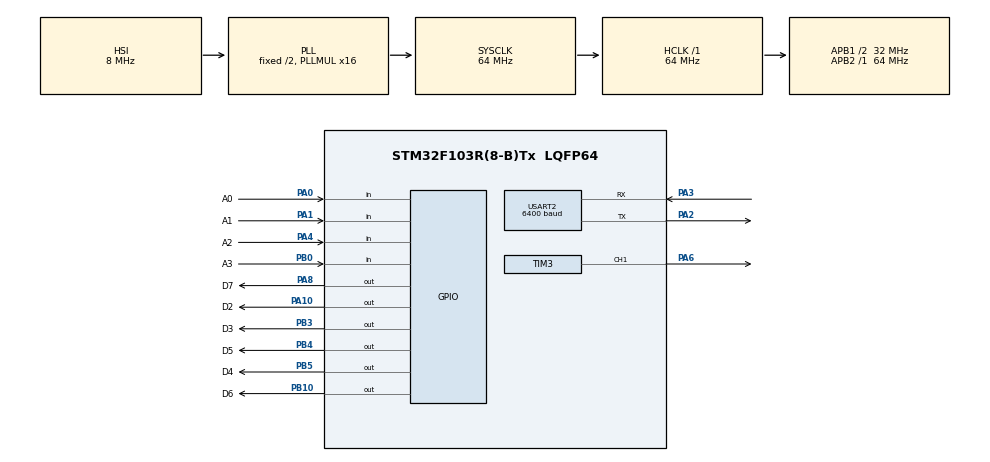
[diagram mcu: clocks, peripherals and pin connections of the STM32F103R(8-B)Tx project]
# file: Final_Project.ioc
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Mcu.Family=STM32F1
Mcu.Name=STM32F103R(8-B)Tx
Mcu.Package=LQFP64
NVIC.PriorityGroup=NVIC_PRIORITYGROUP_4
NVIC.TIM2_IRQn=true\:0\:0\:false\:false\:true\:true\:true
NVIC.TIM3_IRQn=true\:0\:0\:false\:false\:true\:true\:true
NVIC.USART2_IRQn=true\:0\:0\:false\:false\:true\:true\:true
PA0-WKUP.GPIO_Label=A0
PA0-WKUP.GPIO_PuPd=GPIO_PULLUP
PA0-WKUP.Signal=GPIO_Input
PA1.GPIO_Label=A1
PA1.GPIO_PuPd=GPIO_PULLUP
PA1.Signal=GPIO_Input
PA10.GPIO_Label=D2
PA10.GPIO_PuPd=GPIO_PULLUP
PA10.Signal=GPIO_Output
PA13.Mode=Serial_Wire
PA13.Signal=SYS_JTMS-SWDIO
PA14.Mode=Serial_Wire
PA14.Signal=SYS_JTCK-SWCLK
PA2.Mode=Asynchronous
PA2.Signal=USART2_TX
PA3.Mode=Asynchronous
PA3.Signal=USART2_RX
PA4.GPIO_Label=A2
PA4.GPIO_PuPd=GPIO_PULLUP
PA4.Signal=GPIO_Input
PA6.Signal=S_TIM3_CH1
PA8.GPIO_Label=D7
PA8.GPIO_PuPd=GPIO_PULLUP
PA8.Signal=GPIO_Output
PB0.GPIO_Label=A3
PB0.GPIO_PuPd=GPIO_PULLUP
PB0.Signal=GPIO_Input
PB10.GPIO_Label=D6
PB10.GPIO_PuPd=GPIO_PULLUP
PB10.Signal=GPIO_Output
PB3.GPIO_Label=D3
PB3.GPIO_PuPd=GPIO_PULLUP
PB3.Signal=GPIO_Output
PB4.GPIO_Label=D5
PB4.GPIO_PuPd=GPIO_PULLUP
PB4.Signal=GPIO_Output
PB5.GPIO_Label=D4
PB5.GPIO_PuPd=GPIO_PULLUP
PB5.Signal=GPIO_Output
ProjectManager.HeapSize=0x200
ProjectManager.StackSize=0x400
ProjectManager.TargetToolchain=STM32CubeIDE
RCC.AHBFreq_Value=64000000
RCC.APB1CLKDivider=RCC_HCLK_DIV2
RCC.APB1Freq_Value=32000000
RCC.APB1TimFreq_Value=64000000
RCC.APB2Freq_Value=64000000
RCC.APB2TimFreq_Value=64000000
RCC.HCLKFreq_Value=64000000
RCC.PLLMUL=RCC_PLL_MUL16
RCC.SYSCLKFreq_VALUE=64000000
RCC.SYSCLKSource=RCC_SYSCLKSOURCE_PLLCLK
RCC.USBFreq_Value=64000000
SH.S_TIM3_CH1.0=TIM3_CH1,PWM Generation1 CH1
TIM2.Period=9999
TIM2.Prescaler=63
TIM3.Channel-PWM\ Generation1\ CH1=TIM_CHANNEL_1
TIM3.Period=999
TIM3.Prescaler=63
USART2.BaudRate=6400
USART2.VirtualMode=VM_ASYNC
VP_TIM2_VS_ClockSourceINT.Mode=Internal
VP_TIM3_VS_ClockSourceINT.Mode=Internal
board=custom

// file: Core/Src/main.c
/* USER CODE BEGIN Header */
/**
  ******************************************************************************
  * @file           : main.c
  * @brief          : Main program body
  ******************************************************************************
  * @attention
  *
  * <h2><center>&copy; Copyright (c) 2022 STMicroelectronics.
  * All rights reserved.</center></h2>
  *
  * This software component is licensed by ST under BSD 3-Clause license,
  * the "License"; You may not use this file except in compliance with the
  * License. You may obtain a copy of the License at:
  *                        opensource.org/licenses/BSD-3-Clause
  *
  ******************************************************************************
  */
/* USER CODE END Header */
#include "main.h"

/* USER CODE BEGIN Includes */
#include "timer.h"
#include "input_processing.h"
#include "input_reading.h"
#include "display7SEG.h"
#include "traffic_light.h"
#include "global.h"
#include <stdio.h>
#include "scheduler.h"
/* USER CODE END Includes */

TIM_HandleTypeDef htim2;
TIM_HandleTypeDef htim3;

UART_HandleTypeDef huart2;

void SystemClock_Config(void);
static void MX_GPIO_Init(void);
static void MX_TIM2_Init(void);
static void MX_TIM3_Init(void);
static void MX_USART2_UART_Init(void);

/* USER CODE BEGIN 0 */
void testIO (){
	HAL_GPIO_WritePin(D2_GPIO_Port, D2_Pin,
		HAL_GPIO_ReadPin(A0_GPIO_Port, A0_Pin)); //TURN OFF
	//HAL_GPIO_WritePin(D4_GPIO_Port, D4_Pin,
				//HAL_GPIO_ReadPin(A0_GPIO_Port, A1_Pin));
	//HAL_GPIO_WritePin(D6_GPIO_Port, D6_Pin,
				//HAL_GPIO_ReadPin(A0_GPIO_Port, A2_Pin));
	//HAL_GPIO_TogglePin(D7_GPIO_Port, D7_Pin);
}

void testSCH(){
	HAL_GPIO_TogglePin(D2_GPIO_Port, D2_Pin);
	//HAL_GPIO_WritePin (D2_GPIO_Port, D2_Pin, 0);
	//HAL_GPIO_WritePin (D3_GPIO_Port, D3_Pin, 1);
}

int buzzer_en2 = 0;
void buzzer_active(){
	if (USE_SCHEDULER)
		timer3_flag = 1;

	if (status1 == AUTO_GREEN) {
		if ((pedes_Duration == -1) || (pedes_Duration >= RED_DURATION) )
			pedes_Duration = 0;
	} else pedes_Duration = -1;

	if (timer3_flag == 1) {
		  int duty;
		  int speedCycle;
		  if ((pedes_Duration >= 0)&&(pedes_Duration < RED_DURATION*0.8)) {
			duty = (int)((pedes_Duration*50) / (RED_DURATION*0.8));
			speedCycle = 500 - (int)((pedes_Duration*470) / (RED_DURATION*0.8));
		  } else { 			 // 80% of Red Light time has PASSED
			duty = 50; 		 // max volume
			speedCycle = 30; // fastest beep: 1/16 second beeping cycle
		  }
		  if (buzzer){
			  if (buzzer_en2 == 0) {
				  buzzer_en2 = 1;
				  __HAL_TIM_SetCompare(&htim3,TIM_CHANNEL_1, 0);
			  }
			  else {
				  __HAL_TIM_SetCompare(&htim3,TIM_CHANNEL_1, duty);
				  buzzer_en2 = 0;
			  }
		  }
		  else  __HAL_TIM_SetCompare(&htim3,TIM_CHANNEL_1, 0);
		  setTimer3(speedCycle);
		  pedes_Duration = pedes_Duration + speedCycle;

		  if (USE_SCHEDULER)
			  SCH_Add_Task(buzzer_active, speedCycle / TICK_CYCLE, 0, BUZZER_ID);
	}
}

//USART PRINTING
int tmp_buffer[4] = {1, 2, 3, 4};
char str[1000];
void display7SEG_U1(){
	HAL_UART_Transmit(&huart2, (void*) str, sprintf(str, "!7SEG Road1:%d%d#\r\n",led_buffer[0], led_buffer[1]), 1000);

}
void display7SEG_U2(){
	HAL_UART_Transmit(&huart2, (void*) str, sprintf(str, "!7SEG Road2:%d%d#\r\n -------------- \r\n",led_buffer[3], led_buffer[2]), 1000);
}
/* USER CODE END 0 */

int main(void)
{

  /* MCU Configuration--------------------------------------------------------*/

  /* Reset of all peripherals, Initializes the Flash interface and the Systick. */
  HAL_Init();

  /* Configure the system clock */
  SystemClock_Config();

  /* Initialize all configured peripherals */
  MX_GPIO_Init();
  MX_TIM2_Init();
  MX_TIM3_Init();
  MX_USART2_UART_Init();
  /* USER CODE BEGIN 2 */
  HAL_TIM_Base_Start_IT(&htim2);
  HAL_TIM_PWM_Start(&htim3, TIM_CHANNEL_1);

  /* USER CODE END 2 */

  /* Infinite loop */
  /* USER CODE BEGIN WHILE */
  int flag_print = 1;
  SCH_Init();

  SCH_Add_Task(fsm_automatic_run1, 0, 0, FSM_AUTO1_ID);
  SCH_Add_Task(fsm_automatic_run2, 1, 0, FSM_AUTO2_ID);
  SCH_Add_Task(fsm_for_7SEG, 2, 250, FSM_7SEG_ID);

  //SCH_Add_Task(testSCH, 10, 100);
  while (1)
  {
	  SCH_Dispatch_Tasks();
	  //testIO();
	  //testSCH();
	  //HAL_Delay(1000);

	  //FSM of automatic mode
	  //fsm_automatic_run1();
	  //fsm_automatic_run2();

	  //fsm_for_7SEG();

	  //FSM of button
	  fsm_for_input_processing();
	  //fsm_blinking_mode();

	  //USART Printing
	  //Only print if there is a change of buffer
	  /*
	  for (int i = 0; i < 4; i++){
		  if (tmp_buffer[i] != led_buffer[i]){
			  tmp_buffer[i] = led_buffer[i];
			  if (flag_print){
				  display7SEG_U1();
				  display7SEG_U2();
				  flag_print = 0;
			  }
		  }
		  if (i == 3) flag_print = 1;
	  }*/
	  // END BUZZER
    /* USER CODE END WHILE */

  }
}

void SystemClock_Config(void)
{
  RCC_OscInitTypeDef RCC_OscInitStruct = {0};
  RCC_ClkInitTypeDef RCC_ClkInitStruct = {0};

  /** Initializes the RCC Oscillators according to the specified parameters
  * in the RCC_OscInitTypeDef structure.
  */
  RCC_OscInitStruct.OscillatorType = RCC_OSCILLATORTYPE_HSI;
  RCC_OscInitStruct.HSIState = RCC_HSI_ON;
  RCC_OscInitStruct.HSICalibrationValue = RCC_HSICALIBRATION_DEFAULT;
  RCC_OscInitStruct.PLL.PLLState = RCC_PLL_ON;
  RCC_OscInitStruct.PLL.PLLSource = RCC_PLLSOURCE_HSI_DIV2;
  RCC_OscInitStruct.PLL.PLLMUL = RCC_PLL_MUL16;
  if (HAL_RCC_OscConfig(&RCC_OscInitStruct) != HAL_OK)
  {
    Error_Handler();
  }
  /** Initializes the CPU, AHB and APB buses clocks
  */
  RCC_ClkInitStruct.ClockType = RCC_CLOCKTYPE_HCLK|RCC_CLOCKTYPE_SYSCLK
                              |RCC_CLOCKTYPE_PCLK1|RCC_CLOCKTYPE_PCLK2;
  RCC_ClkInitStruct.SYSCLKSource = RCC_SYSCLKSOURCE_PLLCLK;
  RCC_ClkInitStruct.AHBCLKDivider = RCC_SYSCLK_DIV1;
  RCC_ClkInitStruct.APB1CLKDivider = RCC_HCLK_DIV2;
  RCC_ClkInitStruct.APB2CLKDivider = RCC_HCLK_DIV1;

  if (HAL_RCC_ClockConfig(&RCC_ClkInitStruct, FLASH_LATENCY_2) != HAL_OK)
  {
    Error_Handler();
  }
}

static void MX_TIM2_Init(void)
{

  TIM_ClockConfigTypeDef sClockSourceConfig = {0};
  TIM_MasterConfigTypeDef sMasterConfig = {0};

  htim2.Instance = TIM2;
  htim2.Init.Prescaler = 63;
  htim2.Init.CounterMode = TIM_COUNTERMODE_UP;
  htim2.Init.Period = 9999;
  htim2.Init.ClockDivision = TIM_CLOCKDIVISION_DIV1;
  htim2.Init.AutoReloadPreload = TIM_AUTORELOAD_PRELOAD_DISABLE;
  if (HAL_TIM_Base_Init(&htim2) != HAL_OK)
  {
    Error_Handler();
  }
  sClockSourceConfig.ClockSource = TIM_CLOCKSOURCE_INTERNAL;
  if (HAL_TIM_ConfigClockSource(&htim2, &sClockSourceConfig) != HAL_OK)
  {
    Error_Handler();
  }
  sMasterConfig.MasterOutputTrigger = TIM_TRGO_RESET;
  sMasterConfig.MasterSlaveMode = TIM_MASTERSLAVEMODE_DISABLE;
  if (HAL_TIMEx_MasterConfigSynchronization(&htim2, &sMasterConfig) != HAL_OK)
  {
    Error_Handler();
  }

}

static void MX_TIM3_Init(void)
{

  TIM_ClockConfigTypeDef sClockSourceConfig = {0};
  TIM_MasterConfigTypeDef sMasterConfig = {0};
  TIM_OC_InitTypeDef sConfigOC = {0};

  htim3.Instance = TIM3;
  htim3.Init.Prescaler = 63;
  htim3.Init.CounterMode = TIM_COUNTERMODE_UP;
  htim3.Init.Period = 999;
  htim3.Init.ClockDivision = TIM_CLOCKDIVISION_DIV1;
  htim3.Init.AutoReloadPreload = TIM_AUTORELOAD_PRELOAD_DISABLE;
  if (HAL_TIM_Base_Init(&htim3) != HAL_OK)
  {
    Error_Handler();
  }
  sClockSourceConfig.ClockSource = TIM_CLOCKSOURCE_INTERNAL;
  if (HAL_TIM_ConfigClockSource(&htim3, &sClockSourceConfig) != HAL_OK)
  {
    Error_Handler();
  }
  if (HAL_TIM_PWM_Init(&htim3) != HAL_OK)
  {
    Error_Handler();
  }
  sMasterConfig.MasterOutputTrigger = TIM_TRGO_RESET;
  sMasterConfig.MasterSlaveMode = TIM_MASTERSLAVEMODE_DISABLE;
  if (HAL_TIMEx_MasterConfigSynchronization(&htim3, &sMasterConfig) != HAL_OK)
  {
    Error_Handler();
  }
  sConfigOC.OCMode = TIM_OCMODE_PWM1;
  sConfigOC.Pulse = 0;
  sConfigOC.OCPolarity = TIM_OCPOLARITY_HIGH;
  sConfigOC.OCFastMode = TIM_OCFAST_DISABLE;
  if (HAL_TIM_PWM_ConfigChannel(&htim3, &sConfigOC, TIM_CHANNEL_1) != HAL_OK)
  {
    Error_Handler();
  }
  HAL_TIM_MspPostInit(&htim3);

}

static void MX_USART2_UART_Init(void)
{

  huart2.Instance = USART2;
  huart2.Init.BaudRate = 6400;
  huart2.Init.WordLength = UART_WORDLENGTH_8B;
  huart2.Init.StopBits = UART_STOPBITS_1;
  huart2.Init.Parity = UART_PARITY_NONE;
  huart2.Init.Mode = UART_MODE_TX_RX;
  huart2.Init.HwFlowCtl = UART_HWCONTROL_NONE;
  huart2.Init.OverSampling = UART_OVERSAMPLING_16;
  if (HAL_UART_Init(&huart2) != HAL_OK)
  {
    Error_Handler();
  }

}

static void MX_GPIO_Init(void)
{
  GPIO_InitTypeDef GPIO_InitStruct = {0};

  /* GPIO Ports Clock Enable */
  __HAL_RCC_GPIOA_CLK_ENABLE();
  __HAL_RCC_GPIOB_CLK_ENABLE();

  /*Configure GPIO pin Output Level */
  HAL_GPIO_WritePin(GPIOB, D6_Pin|D3_Pin|D5_Pin|D4_Pin, GPIO_PIN_RESET);

  /*Configure GPIO pin Output Level */
  HAL_GPIO_WritePin(GPIOA, D7_Pin|D2_Pin, GPIO_PIN_RESET);

  /*Configure GPIO pins : A0_Pin A1_Pin A2_Pin */
  GPIO_InitStruct.Pin = A0_Pin|A1_Pin|A2_Pin;
  GPIO_InitStruct.Mode = GPIO_MODE_INPUT;
  GPIO_InitStruct.Pull = GPIO_PULLUP;
  HAL_GPIO_Init(GPIOA, &GPIO_InitStruct);

  /*Configure GPIO pin : A3_Pin */
  GPIO_InitStruct.Pin = A3_Pin;
  GPIO_InitStruct.Mode = GPIO_MODE_INPUT;
  GPIO_InitStruct.Pull = GPIO_PULLUP;
  HAL_GPIO_Init(A3_GPIO_Port, &GPIO_InitStruct);

  /*Configure GPIO pins : D6_Pin D3_Pin D5_Pin D4_Pin */
  GPIO_InitStruct.Pin = D6_Pin|D3_Pin|D5_Pin|D4_Pin;
  GPIO_InitStruct.Mode = GPIO_MODE_OUTPUT_PP;
  GPIO_InitStruct.Pull = GPIO_PULLUP;
  GPIO_InitStruct.Speed = GPIO_SPEED_FREQ_LOW;
  HAL_GPIO_Init(GPIOB, &GPIO_InitStruct);

  /*Configure GPIO pins : D7_Pin D2_Pin */
  GPIO_InitStruct.Pin = D7_Pin|D2_Pin;
  GPIO_InitStruct.Mode = GPIO_MODE_OUTPUT_PP;
  GPIO_InitStruct.Pull = GPIO_PULLUP;
  GPIO_InitStruct.Speed = GPIO_SPEED_FREQ_LOW;
  HAL_GPIO_Init(GPIOA, &GPIO_InitStruct);

}

/* USER CODE BEGIN 4 */
void HAL_TIM_PeriodElapsedCallback(TIM_HandleTypeDef * htim ){
	timer_run();
	button_reading();
	SCH_Update();
}
/* USER CODE END 4 */

void Error_Handler(void)
{
  __disable_irq();
  while (1)
  {
  }
}

/************************ (C) COPYRIGHT STMicroelectronics *****END OF FILE****/
